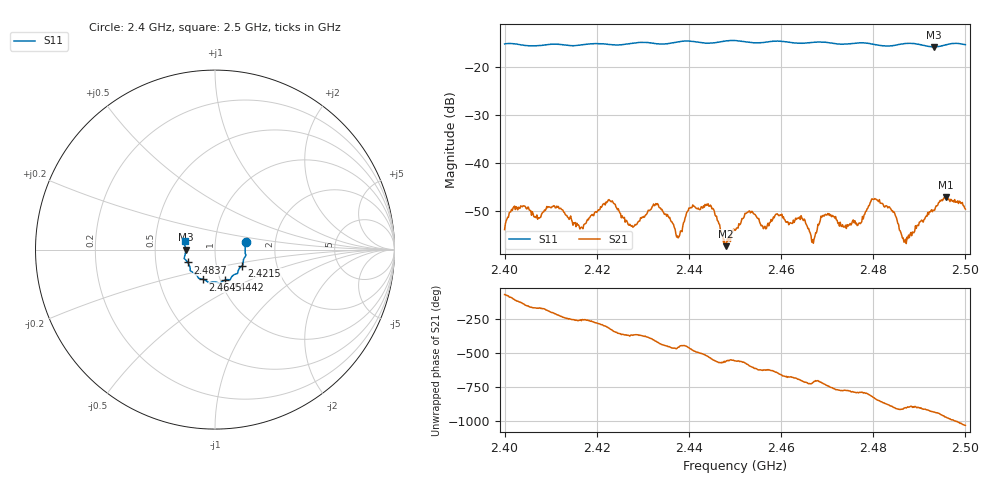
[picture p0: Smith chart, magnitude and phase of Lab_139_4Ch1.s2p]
# Hz S RI R 50
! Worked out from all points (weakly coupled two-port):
!   601 points, 2.4 GHz to 2.5 GHz, reference 50 ohm
!   highest |S21| = -47.16 dB at 2.4958 GHz (marker M1); lowest = -57.3 dB at 2.448 GHz (marker M2)
!   lowest |S11| = -15.7 dB at 2.4932 GHz (marker M3), VSWR 1.39, Z = 35.9 - j0.046 ohm
!   |S11| at or under -10 dB: start of sweep to end of sweep
!   S12 and S22 are empty: the file has one direction only
!   S11 on the Smith chart (normalised r, x): 2.4 GHz: 1.41, +0.12; 2.4215 GHz: 1.33, -0.25; 2.4442 GHz: 1.05, -0.37; 2.4645 GHz: 0.83, -0.29; 2.4837 GHz: 0.73, -0.11; 2.5 GHz: 0.71, +0.07
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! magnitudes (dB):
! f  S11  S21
! 2.4 GHz  -15.1  -53.9
! 2.402 GHz  -15.1  -49.1
! 2.4108 GHz  -15.1  -48.9
! 2.4167 GHz  -15.3  -53.3
! 2.4215 GHz  -15.1  -48.5
! 2.4278 GHz  -14.9  -53.4
! 2.4333 GHz  -15.1  -48.7
! 2.4377 GHz  -14.7  -55.6
! 2.4403 GHz  -14.5  -49.2
! 2.4442 GHz  -15.0  -48.5
! 2.448 GHz  -14.5  -57.3
! 2.45 GHz  -14.4  -54.0
! 2.4532 GHz  -14.8  -50.0
! 2.4645 GHz  -15.0  -51.4
! 2.4667 GHz  -14.8  -56.5
! 2.4692 GHz  -14.7  -50.9
! 2.4833 GHz  -15.6  -49.1
! 2.4837 GHz  -15.5  -49.4
! 2.487 GHz  -15.0  -55.9
! 2.4932 GHz  -15.7  -49.9
! 2.4958 GHz  -15.3  -47.2
! 2.5 GHz  -15.3  -49.6
